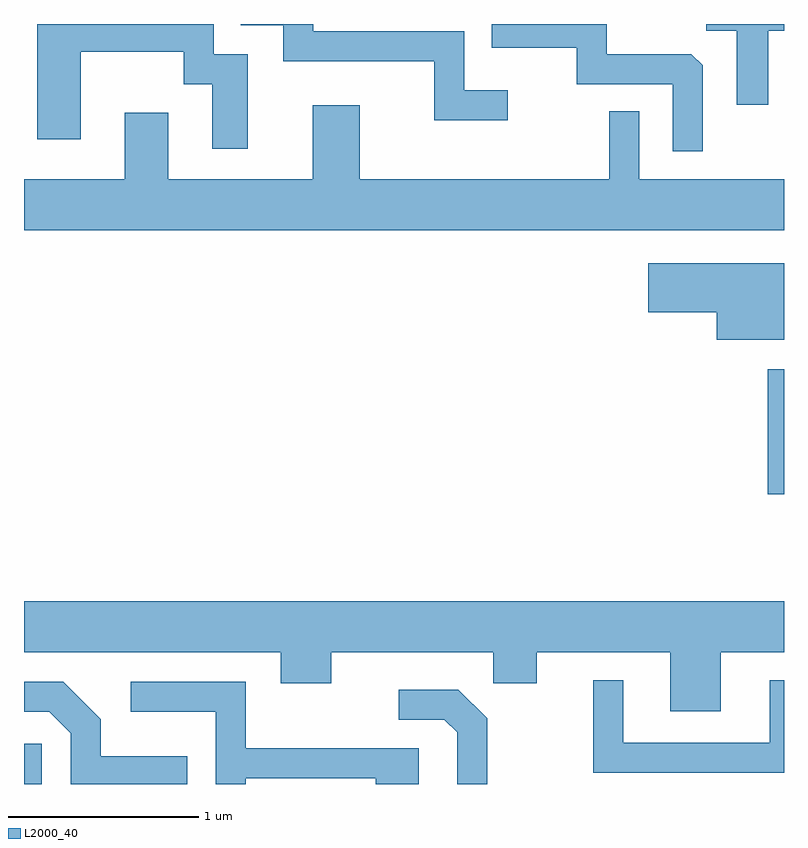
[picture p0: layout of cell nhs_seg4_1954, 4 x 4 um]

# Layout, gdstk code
import gdstk
lib = gdstk.Library(unit=1e-6, precision=1e-09)
def R(c, l, rs):  # rectangles x0, y0, x1, y1
    for r in rs: c.add(gdstk.rectangle(r[:2], r[2:], *l))
def P(c, l, *ps):  # polygons
    for p in ps: c.add(gdstk.Polygon(p, *l))
L2000_40 = (2000, 40)

nhs_seg4_1954 = lib.new_cell('nhs_seg4_1954')
R(nhs_seg4_1954, L2000_40, [(241.611,1353.982,241.704,1354.193), (245.526,1355.508,245.611,1356.164)])
P(nhs_seg4_1954, L2000_40, [(245.184,1357.764),(245.124,1357.824),(244.679,1357.824),(244.679,1357.982),(244.073,1357.982),(244.073,1357.856),(244.521,1357.856),(244.521,1357.666),(245.026,1357.666),(245.026,1357.313),(245.184,1357.313)],
  [(244.158,1357.634),(243.929,1357.634),(243.929,1357.944),(243.134,1357.944),(243.134,1357.982),(242.753,1357.982),(242.753,1357.976),(242.976,1357.976),(242.976,1357.786),(243.771,1357.786),(243.771,1357.476),(244.158,1357.476)],
  [(242.789,1357.824),(242.609,1357.824),(242.609,1357.982),(241.681,1357.982),(241.681,1357.376),(241.909,1357.376),(241.909,1357.836),(242.451,1357.836),(242.451,1357.666),(242.601,1357.666),(242.601,1357.326),(242.789,1357.326)],
  [(245.529,1357.946),(245.611,1357.946),(245.611,1357.982),(245.201,1357.982),(245.201,1357.946),(245.361,1357.946),(245.361,1357.558),(245.529,1357.558)],
  [(245.611,1357.164),(244.849,1357.164),(244.849,1357.523),(244.691,1357.523),(244.691,1357.164),(243.379,1357.164),(243.379,1357.554),(243.131,1357.554),(243.131,1357.164),(242.369,1357.164),(242.369,1357.514),(242.141,1357.514),(242.141,1357.164),(241.611,1357.164),(241.611,1356.896),(245.611,1356.896)],
  [(245.611,1356.724),(244.896,1356.724),(244.896,1356.466),(245.256,1356.466),(245.256,1356.321),(245.611,1356.321)],
  [(241.611,1354.676),(242.961,1354.676),(242.961,1354.511),(243.229,1354.511),(243.229,1354.676),(244.081,1354.676),(244.081,1354.511),(244.309,1354.511),(244.309,1354.676),(245.011,1354.676),(245.011,1354.366),(245.279,1354.366),(245.279,1354.676),(245.611,1354.676),(245.611,1354.944),(241.611,1354.944)],
  [(245.611,1354.528),(245.536,1354.528),(245.536,1354.199),(244.764,1354.199),(244.764,1354.528),(244.606,1354.528),(244.606,1354.041),(245.611,1354.041)],
  [(242.469,1354.129),(242.014,1354.129),(242.014,1354.322),(241.817,1354.519),(241.611,1354.519),(241.611,1354.361),(241.744,1354.361),(241.856,1354.249),(241.856,1353.982),(242.469,1353.982)],
  [(242.779,1354.011),(243.461,1354.011),(243.461,1353.982),(243.689,1353.982),(243.689,1354.169),(242.779,1354.169),(242.779,1354.519),(242.173,1354.519),(242.173,1354.361),(242.621,1354.361),(242.621,1353.982),(242.779,1353.982)],
  [(244.049,1354.327),(243.897,1354.479),(243.583,1354.479),(243.583,1354.321),(243.824,1354.321),(243.891,1354.254),(243.891,1353.982),(244.049,1353.982)])

lib.write_gds('nhs_seg4_1954.gds')
